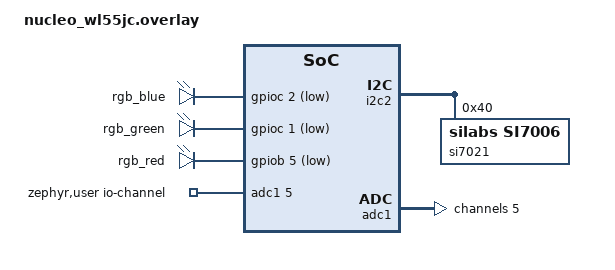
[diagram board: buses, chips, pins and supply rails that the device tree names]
#include <zephyr/dt-bindings/pinctrl/stm32-pinctrl.h>

/ {
	rgb_leds {
        compatible = "gpio-leds";

        rgb_blue: rgb-blue {
            gpios = <&gpioc 2 GPIO_ACTIVE_LOW>;
        };

        rgb_green: rgb-green {
            gpios = <&gpioc 1 GPIO_ACTIVE_LOW>;
        };

        rgb_red: rgb-red {
            gpios = <&gpiob 5 GPIO_ACTIVE_LOW>;
        };
    };

	aliases {

		blue = &blue_led_1;	// LED1 on the STM32WL55JC Nucleo board
		green = &green_led_2;
		red = &red_led_3;
		
		rgbred = &rgb_red;
        rgbgreen = &rgb_green;
        rgbblue = &rgb_blue;

        userbt = &user_button_2; //sw2 

	};
};

&i2c2 {
	si7021: si7021@40 {
		compatible = "silabs,si7006";
		reg = <0x40>;
		status = "okay";
	};
};


&adc1 {
    #address-cells = <1>;
    #size-cells = <0>;

    channel5: channel@5 {
        reg = <5>;
        zephyr,gain = "ADC_GAIN_1";
        zephyr,reference = "ADC_REF_INTERNAL";
        zephyr,acquisition-time = <ADC_ACQ_TIME_DEFAULT>;
        zephyr,resolution = <12>;
    };
};

/ {
    zephyr,user {
        io-channels = <&adc1 5>;
    };
};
